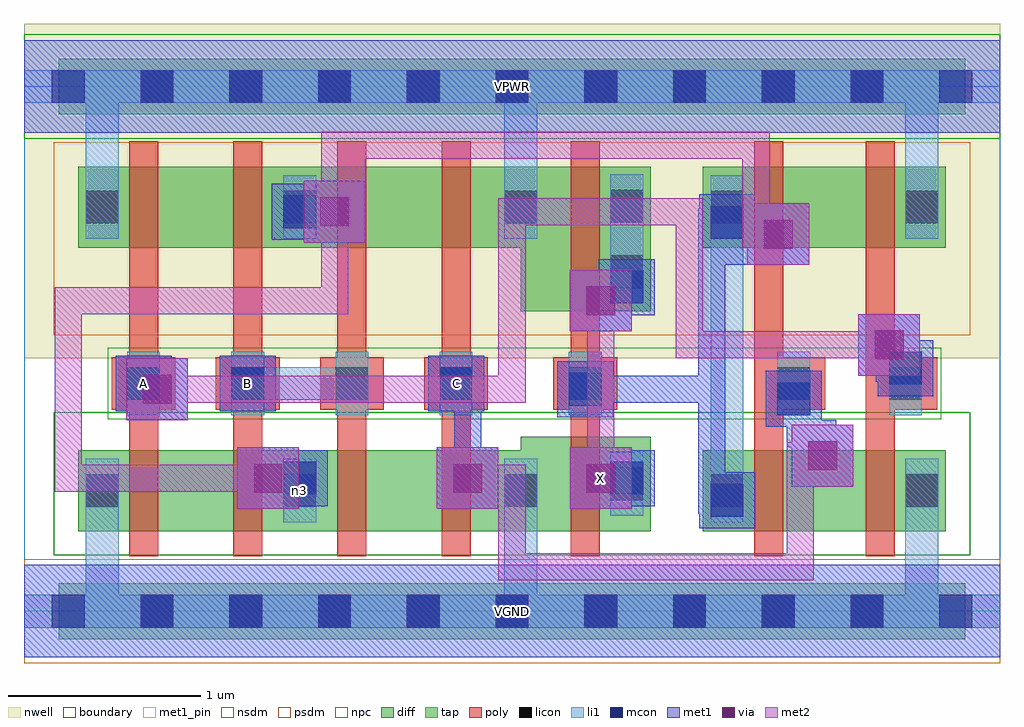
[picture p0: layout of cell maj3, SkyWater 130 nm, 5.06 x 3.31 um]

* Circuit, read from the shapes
.subckt maj3 A B C VGND VPWR X n3
XM1 n1 A VGND VGND sky130_fd_pr__nfet_01v8 w=0.42 l=0.15
XM2 n3 B n1 VGND sky130_fd_pr__nfet_01v8 w=0.42 l=0.15
XM3 n2 B n3 VGND sky130_fd_pr__nfet_01v8 w=0.42 l=0.15
XM4 VGND C n2 VGND sky130_fd_pr__nfet_01v8 w=0.42 l=0.15
XM5 X n3 VGND VGND sky130_fd_pr__nfet_01v8 w=0.49 l=0.15
XM6 n4 C n3 VGND sky130_fd_pr__nfet_01v8 w=0.42 l=0.15
XM7 VGND A n4 VGND sky130_fd_pr__nfet_01v8 w=0.42 l=0.15
XM8 n5 A VPWR VPWR sky130_fd_pr__pfet_01v8 w=0.42 l=0.15
XM9 n3 B n5 VPWR sky130_fd_pr__pfet_01v8 w=0.42 l=0.15
XM10 n6 B n3 VPWR sky130_fd_pr__pfet_01v8 w=0.42 l=0.15
XM11 VPWR C n6 VPWR sky130_fd_pr__pfet_01v8 w=0.42 l=0.15
XM12 X n3 VPWR VPWR sky130_fd_pr__pfet_01v8 w=0.75 l=0.15
XM13 n7 C n3 VPWR sky130_fd_pr__pfet_01v8 w=0.42 l=0.15
XM14 VPWR A n7 VPWR sky130_fd_pr__pfet_01v8 w=0.42 l=0.15
.ends

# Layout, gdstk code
import gdstk
lib = gdstk.Library(unit=1e-6, precision=1e-09)
def R(c, l, rs):  # rectangles x0, y0, x1, y1
    for r in rs: c.add(gdstk.rectangle(r[:2], r[2:], *l))
def A(c, l, x, y, w, h, nx, ny, dx, dy):  # array of equal rectangles
    R(c, l, [(x+i*dx, y+j*dy, x+i*dx+w, y+j*dy+h) for i in range(nx) for j in range(ny)])
nwell = (64, 20)
diff = (65, 20)
tap = (65, 44)
poly = (66, 20)
licon = (66, 44)
li1 = (67, 20)
mcon = (67, 44)
met1_pin = (68, 16)
met1 = (68, 20)
via = (68, 44)
met2 = (69, 20)
nsdm = (93, 44)
psdm = (94, 20)
npc = (95, 20)
boundary = (235, 4)

maj3 = lib.new_cell('maj3')
R(maj3, nwell, [(0,1.31,5.06,3.045)])
R(maj3, diff, [(0.28,0.415,2.575,0.835), (2.575,0.415,3.25,0.905), (3.52,0.415,4.78,0.835), (2.575,1.555,3.25,2.305), (0.28,1.885,2.575,2.305), (3.52,1.885,4.78,2.305)])
R(maj3, tap, [(0.18,-0.145,4.88,0.145), (0.18,2.575,4.88,2.865)])
A(maj3, poly, 0.545, 0.285, 0.15, 2.15, 4, 1, 0.54, 0)
A(maj3, poly, 0.455, 1.045, 0.33, 0.27, 4, 1, 0.54, 0)
R(maj3, poly, [(2.835,0.285,2.985,2.435), (3.785,0.285,3.935,2.435), (4.365,0.285,4.515,2.435), (2.745,1.045,3.075,1.315), (3.825,1.045,4.155,1.315), (4.405,1.045,4.735,1.315)])
A(maj3, licon, 0.605, -0.085, 0.17, 0.17, 9, 2, 0.46, 2.72)
A(maj3, licon, 0.535, 1.095, 0.17, 0.17, 4, 1, 0.54, 0)
R(maj3, licon, [(0.32,0.54,0.49,0.71), (1.345,0.54,1.515,0.71), (2.49,0.54,2.66,0.71), (3.56,0.54,3.73,0.71), (4.57,0.54,4.74,0.71), (3.04,0.575,3.21,0.745), (2.825,1.095,2.995,1.265), (3.905,1.095,4.075,1.265), (4.485,1.095,4.655,1.265), (3.04,1.675,3.21,1.845), (0.32,2.01,0.49,2.18), (1.345,2.01,1.515,2.18), (2.49,2.01,2.66,2.18), (3.56,2.01,3.73,2.18), (4.57,2.01,4.74,2.18), (3.04,2.015,3.21,2.185)])
A(maj3, li1, 0.535, 1.015, 0.17, 0.33, 4, 1, 0.54, 0)
R(maj3, li1, [(0,-0.085,5.06,0.085), (0.32,-0.085,0.49,0.79), (2.49,-0.085,2.66,0.79), (4.57,-0.085,4.74,0.79), (0.32,0.46,0.49,0.79), (1.345,0.46,1.515,0.79), (2.49,0.46,2.66,0.79), (3.56,0.46,3.73,0.79), (3.56,0.46,3.73,2.26), (4.57,0.46,4.74,0.79), (3.04,0.495,3.21,0.825), (2.825,1.015,2.995,1.345), (3.905,1.015,4.075,1.345), (4.485,1.015,4.655,1.345), (1.075,1.095,1.785,1.265), (3.04,1.595,3.21,2.265), (0.32,1.93,0.49,2.26), (0.32,1.93,0.49,2.805), (1.345,1.93,1.515,2.26), (2.49,1.93,2.66,2.26), (2.49,1.93,2.66,2.805), (3.56,1.93,3.73,2.26), (4.57,1.93,4.74,2.26), (4.57,1.93,4.74,2.805), (0,2.635,5.06,2.805)])
A(maj3, mcon, 0.145, -0.085, 0.17, 0.17, 11, 2, 0.46, 2.72)
R(maj3, mcon, [(3.56,0.49,3.73,0.66), (1.345,0.605,1.515,0.775), (3.04,0.605,3.21,0.775), (3.905,1.015,4.075,1.185), (2.825,1.065,2.995,1.235), (0.535,1.095,0.705,1.265), (1.075,1.095,1.245,1.265), (2.155,1.095,2.325,1.265), (4.485,1.175,4.655,1.345), (3.04,1.595,3.21,1.765), (3.56,1.93,3.73,2.1), (1.345,1.985,1.515,2.155)])
R(maj3, met1_pin, [(0,-0.24,5.06,0.24), (2.83,0.53,3.15,0.85), (0.475,1.035,0.765,1.325), (1.015,1.035,1.305,1.325), (2.095,1.035,2.385,1.325), (0,2.48,5.06,2.96)])
R(maj3, met1, [(0,-0.24,5.06,0.24), (3.5,0.43,3.79,0.72), (3.495,0.505,3.715,0.645), (3.495,0.505,3.635,1.22), (1.105,0.53,1.425,0.85), (2.14,0.53,2.46,0.85), (2.83,0.53,3.15,0.85), (1.285,0.545,1.575,0.835), (2.98,0.545,3.27,0.835), (1.195,0.62,1.5,0.76), (2.23,0.62,2.37,1.22), (2.92,0.62,3.195,0.76), (3.98,0.645,4.3,0.965), (4.07,0.735,4.21,0.99), (3.955,0.85,4.095,1.17), (3.955,0.85,4.21,0.99), (3.845,0.955,4.135,1.245), (0.53,0.99,0.85,1.31), (2.765,1.005,3.055,1.295), (3.92,1.03,4.095,1.17), (0.475,1.035,0.765,1.325), (1.015,1.035,1.305,1.325), (2.095,1.035,2.385,1.325), (0.62,1.08,0.76,1.22), (2.23,1.08,2.37,1.22), (2.84,1.08,3.175,1.22), (3.035,1.08,3.635,1.22), (3.495,1.08,3.635,1.91), (4.425,1.115,4.715,1.405), (4.415,1.19,4.64,1.33), (4.415,1.19,4.555,1.45), (4.325,1.22,4.645,1.54), (2.83,1.45,3.15,1.77), (2.98,1.535,3.27,1.825), (2.92,1.54,3.06,1.75), (2.92,1.61,3.195,1.75), (3.495,1.77,3.635,2.025), (3.495,1.77,3.635,2.085), (3.635,1.795,3.75,2.025), (3.635,1.795,3.75,2.085), (3.635,1.795,3.75,1.91), (3.75,1.795,4.07,2.115), (3.5,1.87,3.79,2.16), (3.495,1.885,3.98,2.025), (1.45,1.91,1.77,2.23), (1.285,1.925,1.575,2.215), (3.495,1.945,3.715,2.085), (1.36,2,1.68,2.14), (0,2.48,5.06,2.96)])
R(maj3, via, [(1.19,0.615,1.34,0.765), (2.225,0.615,2.375,0.765), (2.915,0.615,3.065,0.765), (4.065,0.73,4.215,0.88), (0.615,1.075,0.765,1.225), (4.41,1.305,4.56,1.455), (2.915,1.535,3.065,1.685), (3.835,1.88,3.985,2.03), (1.535,1.995,1.685,2.145)])
R(maj3, met2, [(2.46,0.16,2.6,0.76), (2.46,0.16,4.095,0.3), (3.955,0.16,4.095,0.875), (1.105,0.53,1.425,0.85), (2.14,0.53,2.46,0.85), (2.83,0.53,3.15,0.85), (0.16,0.62,0.3,1.68), (0.16,0.62,1.335,0.76), (2.23,0.62,2.6,0.76), (2.92,0.62,3.06,1.68), (3.98,0.645,4.3,0.965), (3.955,0.735,4.21,0.875), (0.53,0.99,0.85,1.31), (0.62,1.08,2.6,1.22), (2.46,1.08,2.6,2.14), (4.325,1.22,4.645,1.54), (3.38,1.31,3.52,2.14), (3.38,1.31,4.555,1.45), (2.83,1.45,3.15,1.77), (0.16,1.54,1.68,1.68), (1.54,1.54,1.68,2.14), (3.75,1.795,4.07,2.115), (3.725,1.885,3.865,2.485), (3.725,1.885,3.98,2.025), (1.45,1.91,1.77,2.23), (1.54,2,1.68,2.485), (2.46,2,3.52,2.14), (1.54,2.23,1.77,2.345), (1.54,2.345,3.865,2.485)])
R(maj3, nsdm, [(0.155,0.29,4.905,1.03), (0,2.45,5.06,2.99)])
R(maj3, psdm, [(0,-0.27,5.06,0.27), (0.155,1.43,4.905,2.43)])
R(maj3, npc, [(0.435,0.995,4.755,1.365)])
R(maj3, boundary, [(0,0,5.06,2.72)])
maj3.add(gdstk.Label('n3', (1.43,0.625), layer=67, texttype=5))
maj3.add(gdstk.Label('A', (0.62,1.18), layer=68, texttype=5))
maj3.add(gdstk.Label('B', (1.16,1.18), layer=68, texttype=5))
maj3.add(gdstk.Label('C', (2.24,1.18), layer=68, texttype=5))
maj3.add(gdstk.Label('X', (2.99,0.69), layer=68, texttype=5))
maj3.add(gdstk.Label('VPWR', (2.53,2.72), layer=68, texttype=5))
maj3.add(gdstk.Label('VGND', (2.53,0), layer=68, texttype=5))
maj3.add(gdstk.Label('A', (0.62,1.18), layer=68, texttype=16))
maj3.add(gdstk.Label('B', (1.16,1.18), layer=68, texttype=16))
maj3.add(gdstk.Label('C', (2.24,1.18), layer=68, texttype=16))
maj3.add(gdstk.Label('X', (2.99,0.69), layer=68, texttype=16))
maj3.add(gdstk.Label('VPWR', (2.53,2.72), layer=68, texttype=16))
maj3.add(gdstk.Label('VGND', (2.53,0), layer=68, texttype=16))

lib.write_gds('maj3.gds')
